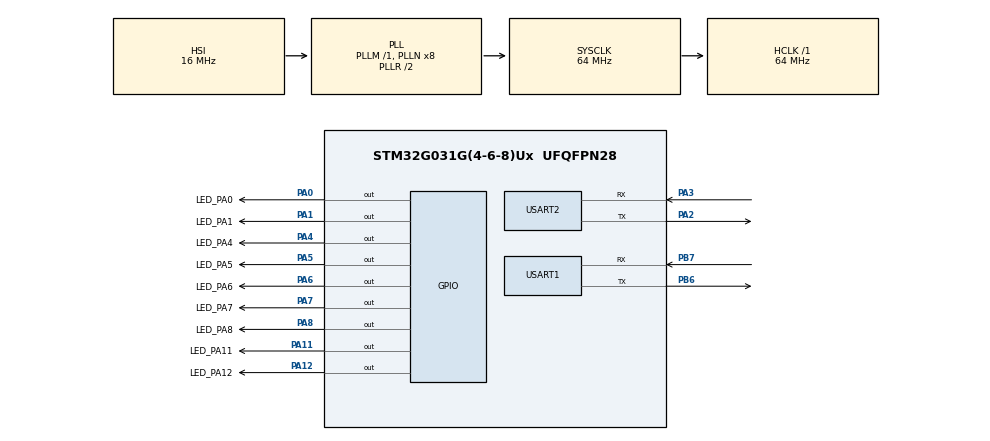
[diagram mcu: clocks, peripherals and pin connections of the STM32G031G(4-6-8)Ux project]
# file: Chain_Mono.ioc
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Dma.Request0=USART1_RX
Dma.Request1=USART1_TX
Dma.Request2=USART2_RX
Dma.Request3=USART2_TX
Dma.USART1_RX.0.Direction=DMA_PERIPH_TO_MEMORY
Dma.USART1_RX.0.EventEnable=DISABLE
Dma.USART1_RX.0.Instance=DMA1_Channel1
Dma.USART1_RX.0.MemDataAlignment=DMA_MDATAALIGN_BYTE
Dma.USART1_RX.0.MemInc=DMA_MINC_ENABLE
Dma.USART1_RX.0.Mode=DMA_NORMAL
Dma.USART1_RX.0.PeriphDataAlignment=DMA_PDATAALIGN_BYTE
Dma.USART1_RX.0.PeriphInc=DMA_PINC_DISABLE
Dma.USART1_RX.0.Polarity=HAL_DMAMUX_REQ_GEN_RISING
Dma.USART1_RX.0.Priority=DMA_PRIORITY_LOW
Dma.USART1_RX.0.RequestNumber=1
Dma.USART1_RX.0.SignalID=NONE
Dma.USART1_RX.0.SyncEnable=DISABLE
Dma.USART1_RX.0.SyncPolarity=HAL_DMAMUX_SYNC_NO_EVENT
Dma.USART1_RX.0.SyncRequestNumber=1
Dma.USART1_RX.0.SyncSignalID=NONE
Dma.USART1_TX.1.Direction=DMA_MEMORY_TO_PERIPH
Dma.USART1_TX.1.EventEnable=DISABLE
Dma.USART1_TX.1.Instance=DMA1_Channel2
Dma.USART1_TX.1.MemDataAlignment=DMA_MDATAALIGN_BYTE
Dma.USART1_TX.1.MemInc=DMA_MINC_ENABLE
Dma.USART1_TX.1.Mode=DMA_NORMAL
Dma.USART1_TX.1.PeriphDataAlignment=DMA_PDATAALIGN_BYTE
Dma.USART1_TX.1.PeriphInc=DMA_PINC_DISABLE
Dma.USART1_TX.1.Polarity=HAL_DMAMUX_REQ_GEN_RISING
Dma.USART1_TX.1.Priority=DMA_PRIORITY_LOW
Dma.USART1_TX.1.RequestNumber=1
Dma.USART1_TX.1.SignalID=NONE
Dma.USART1_TX.1.SyncEnable=DISABLE
Dma.USART1_TX.1.SyncPolarity=HAL_DMAMUX_SYNC_NO_EVENT
Dma.USART1_TX.1.SyncRequestNumber=1
Dma.USART1_TX.1.SyncSignalID=NONE
Dma.USART2_RX.2.Direction=DMA_PERIPH_TO_MEMORY
Dma.USART2_RX.2.EventEnable=DISABLE
Dma.USART2_RX.2.Instance=DMA1_Channel3
Dma.USART2_RX.2.MemDataAlignment=DMA_MDATAALIGN_BYTE
Dma.USART2_RX.2.MemInc=DMA_MINC_ENABLE
Dma.USART2_RX.2.Mode=DMA_NORMAL
Dma.USART2_RX.2.PeriphDataAlignment=DMA_PDATAALIGN_BYTE
Dma.USART2_RX.2.PeriphInc=DMA_PINC_DISABLE
Dma.USART2_RX.2.Polarity=HAL_DMAMUX_REQ_GEN_RISING
Dma.USART2_RX.2.Priority=DMA_PRIORITY_LOW
Dma.USART2_RX.2.RequestNumber=1
Dma.USART2_RX.2.SignalID=NONE
Dma.USART2_RX.2.SyncEnable=DISABLE
Dma.USART2_RX.2.SyncPolarity=HAL_DMAMUX_SYNC_NO_EVENT
Dma.USART2_RX.2.SyncRequestNumber=1
Dma.USART2_RX.2.SyncSignalID=NONE
Dma.USART2_TX.3.Direction=DMA_MEMORY_TO_PERIPH
Dma.USART2_TX.3.EventEnable=DISABLE
Dma.USART2_TX.3.Instance=DMA1_Channel4
Dma.USART2_TX.3.MemDataAlignment=DMA_MDATAALIGN_BYTE
Dma.USART2_TX.3.MemInc=DMA_MINC_ENABLE
Dma.USART2_TX.3.Mode=DMA_NORMAL
Dma.USART2_TX.3.PeriphDataAlignment=DMA_PDATAALIGN_BYTE
Dma.USART2_TX.3.PeriphInc=DMA_PINC_DISABLE
Dma.USART2_TX.3.Polarity=HAL_DMAMUX_REQ_GEN_RISING
Dma.USART2_TX.3.Priority=DMA_PRIORITY_LOW
Dma.USART2_TX.3.RequestNumber=1
Dma.USART2_TX.3.SignalID=NONE
Dma.USART2_TX.3.SyncEnable=DISABLE
Dma.USART2_TX.3.SyncPolarity=HAL_DMAMUX_SYNC_NO_EVENT
Dma.USART2_TX.3.SyncRequestNumber=1
Dma.USART2_TX.3.SyncSignalID=NONE
IWDG.Prescaler=IWDG_PRESCALER_16
Mcu.Family=STM32G0
Mcu.Name=STM32G031G(4-6-8)Ux
Mcu.Package=UFQFPN28
NVIC.DMA1_Ch4_5_DMAMUX1_OVR_IRQn=true\:1\:0\:true\:false\:true\:false\:true\:true
NVIC.DMA1_Channel1_IRQn=true\:1\:0\:true\:false\:true\:false\:true\:true
NVIC.DMA1_Channel2_3_IRQn=true\:1\:0\:true\:false\:true\:false\:true\:true
NVIC.FLASH_IRQn=true\:1\:0\:true\:false\:true\:true\:true\:true
NVIC.TIM14_IRQn=true\:1\:0\:true\:false\:true\:true\:true\:true
NVIC.TIM16_IRQn=true\:1\:0\:true\:false\:true\:true\:true\:true
NVIC.TIM17_IRQn=true\:1\:0\:true\:false\:true\:true\:true\:true
NVIC.TIM3_IRQn=true\:0\:0\:false\:false\:true\:true\:true\:true
NVIC.USART1_IRQn=true\:0\:0\:false\:false\:true\:false\:true\:true
NVIC.USART2_IRQn=true\:0\:0\:false\:false\:true\:false\:true\:true
PA0.GPIO_Label=LED_PA0
PA0.Signal=GPIO_Output
PA1.GPIO_Label=LED_PA1
PA1.Signal=GPIO_Output
PA11\ [PA9].GPIO_Label=LED_PA11
PA11\ [PA9].Signal=GPIO_Output
PA12\ [PA10].GPIO_Label=LED_PA12
PA12\ [PA10].Signal=GPIO_Output
PA13.Mode=Serial_Wire
PA13.Signal=SYS_SWDIO
PA14-BOOT0.Mode=Serial_Wire
PA14-BOOT0.Signal=SYS_SWCLK
PA2.GPIO_PuPd=GPIO_PULLUP
PA2.GPIO_Speed=GPIO_SPEED_FREQ_HIGH
PA2.Mode=Asynchronous
PA2.PinState=GPIO_PIN_RESET
PA2.Signal=USART2_TX
PA3.GPIO_PuPd=GPIO_PULLUP
PA3.GPIO_Speed=GPIO_SPEED_FREQ_HIGH
PA3.Mode=Asynchronous
PA3.PinState=GPIO_PIN_RESET
PA3.Signal=USART2_RX
PA4.GPIO_Label=LED_PA4
PA4.Signal=GPIO_Output
PA5.GPIO_Label=LED_PA5
PA5.Signal=GPIO_Output
PA6.GPIO_Label=LED_PA6
PA6.Signal=GPIO_Output
PA7.GPIO_Label=LED_PA7
PA7.Signal=GPIO_Output
PA8.GPIO_Label=LED_PA8
PA8.Signal=GPIO_Output
PB6.GPIO_PuPd=GPIO_PULLUP
PB6.GPIO_Speed=GPIO_SPEED_FREQ_HIGH
PB6.Mode=Asynchronous
PB6.Signal=USART1_TX
PB7.GPIO_PuPd=GPIO_PULLUP
PB7.GPIO_Speed=GPIO_SPEED_FREQ_HIGH
PB7.Mode=Asynchronous
PB7.Signal=USART1_RX
ProjectManager.HeapSize=0x200
ProjectManager.StackSize=0x400
ProjectManager.TargetToolchain=STM32CubeIDE
RCC.ADCFreq_Value=64000000
RCC.AHBFreq_Value=64000000
RCC.CortexFreq_Value=64000000
RCC.EXTERNAL_CLOCK_VALUE=12288000
RCC.HCLKFreq_Value=64000000
RCC.HSE_VALUE=8000000
RCC.HSI_VALUE=16000000
RCC.LSE_VALUE=32768
RCC.PLLQ=RCC_PLLQ_DIV4
RCC.SYSCLKFreq_VALUE=64000000
RCC.SYSCLKSource=RCC_SYSCLKSOURCE_PLLCLK
RCC.VCOOutputFreq_Value=128000000
TIM14.AutoReloadPreload=TIM_AUTORELOAD_PRELOAD_ENABLE
TIM14.Period=1699
TIM14.Prescaler=6399
TIM16.Period=29999
TIM16.Prescaler=6399
TIM17.Period=9999
TIM17.Prescaler=6399
TIM3.AutoReloadPreload=TIM_AUTORELOAD_PRELOAD_ENABLE
TIM3.Period=399
TIM3.Prescaler=63
USART1.VirtualMode-Asynchronous=VM_ASYNC
USART2.VirtualMode-Asynchronous=VM_ASYNC
VP_IWDG_VS_IWDG.Mode=IWDG_Activate
VP_TIM14_VS_ClockSourceINT.Mode=Enable_Timer
VP_TIM16_VS_ClockSourceINT.Mode=Enable_Timer
VP_TIM17_VS_ClockSourceINT.Mode=Enable_Timer
VP_TIM3_VS_ClockSourceINT.Mode=Internal
board=custom

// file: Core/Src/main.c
/* USER CODE BEGIN Header */
/**
 ******************************************************************************
 * @file           : main.c
 * @brief          : Main program body
 ******************************************************************************
 * @attention
 *
 * Copyright (c) 2024 STMicroelectronics.
 * All rights reserved.
 *
 * This software is licensed under terms that can be found in the LICENSE file
 * in the root directory of this software component.
 * If no LICENSE file comes with this software, it is provided AS-IS.
 *
 ******************************************************************************
 */
/* USER CODE END Header */
#include "main.h"
#include "dma.h"
#include "iwdg.h"
#include "tim.h"
#include "usart.h"
#include "gpio.h"

/* USER CODE BEGIN Includes */
#include "base_function.h"
#include "mono_function.h"
#include "myflash.h"
/* USER CODE END Includes */

/* USER CODE BEGIN PV */
// DMA receive buffers
__IO uint8_t g_uart_in_rx_buf[UART_BUFFER_SIZE][BUFFER_SIZE];   // uart_in receive buffer for DMA
__IO uint8_t g_uart_out_rx_buf[UART_BUFFER_SIZE][BUFFER_SIZE];  // uart_out receive buffer for DMA

// Transmission status for UART
__IO uint8_t g_uart_in_rx_index  = 0;  // Index for UART input (receiving) buffer position
__IO uint8_t g_uart_out_rx_index = 0;  // Index for UART output (receiving) buffer position

// Transmission complete flags for UART
__IO uint8_t g_uart_in_transmit_complete  = 1;  // Flag indicating if uart_in transmission is complete (1: complete)
__IO uint8_t g_uart_out_transmit_complete = 1;  // Flag indicating if uart_out transmission is complete (1: complete)

// Command buffer and related variables
__IO uint8_t g_cmd_buf[BUFFER_SIZE] = {0};                    // Command buffer initialized to zero
__IO uint8_t g_cmd_size             = 0;                      // Size of the command currently in the buffer
__IO uint8_t g_cmd_status           = CMD_SPACE_IDLE_STATUS;  // Status of the command processing

// Device status variables
__IO uint8_t g_tail_status        = CHAIN_TAIL_DEVICE;  // Status of the tail device in the chain
__IO uint8_t g_heart_beat_record  = 0;                  // Heartbeat record for monitoring device status
__IO uint8_t g_bootloader_version = 0;                  // Version of the bootloader
__IO uint8_t g_firmware_version   = SOFTWARE_VERSION;   // Version of the firmware

// Device type information
__IO uint16_t g_device_type =
    (uint8_t)((PRODUCT_TYPE_HIGH << 8) | PRODUCT_TYPE_LOW);  // Combined product type from high and low bytes

__IO static uint32_t s_last_press_time = 0;  // Store the last press time in milliseconds

__IO static uint8_t s_key_flag = 0;

__IO uint8_t g_uid[12] = {0};  // Unique identifier

/* USER CODE END PV */

void SystemClock_Config(void);

/* USER CODE BEGIN 0 */
/**
 * @brief Set the Interrupt Vector Table for the application in SRAM.
 * @param None
 * @retval None
 */
void iap_set(void)
{
    uint8_t i;                                     // Loop index
    uint32_t *pVecTab = (uint32_t *)(0x20000000);  // Pointer to the vector table in SRAM

    // Copy the interrupt vector table from the application address to SRAM
    for (i = 0; i < 48; i++) {
        // Copy each vector entry to the SRAM vector table
        *(pVecTab++) = *(__IO uint32_t *)(APPLICATION_ADDRESS + (i << 2));
    }

    // Enable the SYSCFG peripheral clock
    __HAL_RCC_SYSCFG_CLK_ENABLE();

    // Remap the memory to use SRAM for the vector table
    __HAL_SYSCFG_REMAPMEMORY_SRAM();
}

/**
 * @brief Initialize the chain device settings.
 * @param None
 * @retval None
 */
void chain_init(void)
{
    // Get the version of the bootloader
    g_bootloader_version = get_bootloader_version();

    // Check if the screen rotation setting is set to maximum (0xFF)
    if (get_screen_rotation() == 0xFF) {
        // Set the rotation to a base value if it is maximum
        g_current_rotation = SCREEN_ROTATION_BASE;
        set_screen_rotation((uint8_t)g_current_rotation);
    } else {
        // Otherwise, get the current screen rotation setting
        g_current_rotation = get_screen_rotation();
    }

    // Check if the brightness level setting is set to maximum (0xFF)
    if (get_brightness_level() == 0xFF) {
        // Set the brightness to a base level if it is maximum
        g_brightness_level = RRIGTNESS_LEVEL_BASE;
        set_brightness_level((uint8_t)g_brightness_level);
    } else {
        // Otherwise, get the current brightness level setting
        chain_mono_set_brightness(get_brightness_level());
    }
}

void read_uid(void)
{
    uint32_t uid0 = HAL_GetUIDw0();
    uint32_t uid1 = HAL_GetUIDw1();
    uint32_t uid2 = HAL_GetUIDw2();

    memcpy(&g_uid[0], &uid0, 4);
    memcpy(&g_uid[4], &uid1, 4);
    memcpy(&g_uid[8], &uid2, 4);
}

/* ===== 全局变量 ===== */
/* USER CODE END 0 */

int main(void)
{
    /* USER CODE BEGIN 1 */
    iap_set();
    chain_init();
    read_uid();
    /* USER CODE END 1 */

    /* MCU Configuration--------------------------------------------------------*/

    /* Reset of all peripherals, Initializes the Flash interface and the Systick. */
    HAL_Init();

    /* Configure the system clock */
    SystemClock_Config();

    /* Initialize all configured peripherals */
    MX_GPIO_Init();
    MX_DMA_Init();
    MX_USART1_UART_Init();
    MX_USART2_UART_Init();
    MX_IWDG_Init();
    MX_TIM14_Init();
    MX_TIM16_Init();
    MX_TIM17_Init();
    MX_TIM3_Init();
    /* USER CODE BEGIN 2 */
    HAL_Delay(1);
    HAL_TIM_Base_Start_IT(&htim3);               // Update 中断
    HAL_TIM_OC_Start_IT(&htim3, TIM_CHANNEL_1);  // CC1 中断
    HAL_Delay(1);
    LL_TIM_ClearFlag_UPDATE(TIM14);  // Clear update TIM14
    LL_TIM_EnableIT_UPDATE(TIM14);   // ENABLE TIM14
    LL_TIM_EnableCounter(TIM14);     // ENABLE TIM14
    HAL_Delay(1);
    LL_TIM_ClearFlag_UPDATE(TIM17);  // Clear update TIM17
    LL_TIM_EnableIT_UPDATE(TIM17);   // ENABLE TIM17
    LL_TIM_EnableCounter(TIM17);     // ENABLE TIM17
    HAL_Delay(1);
    LL_TIM_ClearFlag_UPDATE(TIM16);  // Clear update TIM16
    LL_TIM_EnableIT_UPDATE(TIM16);   // ENABLE TIM16
    LL_TIM_EnableCounter(TIM16);     // ENABLE TIM16
    HAL_Delay(1);
    /* USER CODE END 2 */

    /* Infinite loop */
    /* USER CODE BEGIN WHILE */
    while (1) {
        uint32_t tick_ms = HAL_GetTick();
        chain_mono_scroll_text_update(tick_ms);
        if (g_cmd_status == CMD_SPACE_BUSY_STATUS) {
            switch (g_cmd_buf[0]) {
                case CHAIN_MONO_SET_MODE:
                    chain_mono_set_mode_handle((uint8_t *)(g_cmd_buf + 1), (g_cmd_size - 1));
                    break;
                case CHAIN_MONO_GET_MODE:
                    chain_mono_get_mode_handle();
                    break;
                case CHAIN_MONO_SET_PIXEL:
                    chain_mono_set_pixel_handle((uint8_t *)(g_cmd_buf + 1), (g_cmd_size - 1));
                    break;
                case CHAIN_MONO_GET_PIXEL:
                    chain_mono_get_pixel_handle((uint8_t *)(g_cmd_buf + 1), (g_cmd_size - 1));
                    break;
                case CHAIN_MONO_SET_DISPLAY_BUFFER:
                    chain_mono_set_display_buffer_handle((uint8_t *)(g_cmd_buf + 1), (g_cmd_size - 1));
                    break;
                case CHAIN_MONO_GET_DISPLAY_BUFFER:
                    chain_mono_get_display_buffer_handle();
                    break;
                case CHAIN_MONO_SET_ROTATION:
                    chain_mono_set_rotation_handle((uint8_t *)(g_cmd_buf + 1), (g_cmd_size - 1));
                    break;
                case CHAIN_MONO_GET_ROTATION:
                    chain_mono_get_rotation_handle();
                    break;
                case CHAIN_MONO_SET_BRIGHTNESS:
                    chain_mono_set_brightness_handle((uint8_t *)(g_cmd_buf + 1), (g_cmd_size - 1));
                    break;
                case CHAIN_MONO_GET_BRIGHTNESS:
                    chain_mono_get_brightness_handle();
                    break;
                case CHAIN_MONO_SET_SCROLL_TEXT:
                    chain_mono_set_scroll_text_handle((uint8_t *)(g_cmd_buf + 1), (g_cmd_size - 1));
                    break;
                case CHAIN_MONO_GET_SCROLL_TEXT:
                    chain_mono_get_scroll_text_handle();
                    break;
                case CHAIN_MONO_SET_SCROLL_TEXT_STATE:
                    chain_mono_set_scroll_text_state_handle(g_cmd_buf[1]);
                    break;
                case CHAIN_MONO_GET_SCROLL_TEXT_STATE:
                    chain_mono_get_scroll_text_state_handle();
                    break;
                case CHAIN_MONO_SET_CHAR:
                    chain_mono_set_char_handle((uint8_t *)(g_cmd_buf + 1), (g_cmd_size - 1));
                    break;
                case CHAIN_MONO_CLEAR:
                    chain_mono_clear_handle();
                    break;
                case CHAIN_GET_UID:
                    chain_get_uid_handle(g_cmd_buf[1]);
                    break;
                case CHAIN_GET_BOOTLOADER_VERSION:
                    chain_get_bootloader_version_handle();
                    break;
                case CHAIN_GET_VERSION_DEVICE:
                    chain_get_firmware_version_handle();
                    break;
                case CHAIN_GET_DEVICE_TYPE:
                    chain_get_device_type_handle();
                    break;
                case CHAIN_IAP_UPDATE:
                    chain_iap_update_handle(g_cmd_buf[1]);
                    break;
                default:
                    break;
            }
            g_cmd_status = CMD_SPACE_IDLE_STATUS;
        }
        /* USER CODE END WHILE */

        /* USER CODE BEGIN 3 */
        LL_IWDG_ReloadCounter(IWDG);
    }
    /* USER CODE END 3 */
}

void SystemClock_Config(void)
{
    RCC_OscInitTypeDef RCC_OscInitStruct = {0};
    RCC_ClkInitTypeDef RCC_ClkInitStruct = {0};

    /** Configure the main internal regulator output voltage
     */
    HAL_PWREx_ControlVoltageScaling(PWR_REGULATOR_VOLTAGE_SCALE1);

    /** Initializes the RCC Oscillators according to the specified parameters
     * in the RCC_OscInitTypeDef structure.
     */
    RCC_OscInitStruct.OscillatorType      = RCC_OSCILLATORTYPE_HSI | RCC_OSCILLATORTYPE_LSI;
    RCC_OscInitStruct.HSIState            = RCC_HSI_ON;
    RCC_OscInitStruct.HSIDiv              = RCC_HSI_DIV1;
    RCC_OscInitStruct.HSICalibrationValue = RCC_HSICALIBRATION_DEFAULT;
    RCC_OscInitStruct.LSIState            = RCC_LSI_ON;
    RCC_OscInitStruct.PLL.PLLState        = RCC_PLL_ON;
    RCC_OscInitStruct.PLL.PLLSource       = RCC_PLLSOURCE_HSI;
    RCC_OscInitStruct.PLL.PLLM            = RCC_PLLM_DIV1;
    RCC_OscInitStruct.PLL.PLLN            = 8;
    RCC_OscInitStruct.PLL.PLLP            = RCC_PLLP_DIV2;
    RCC_OscInitStruct.PLL.PLLQ            = RCC_PLLQ_DIV4;
    RCC_OscInitStruct.PLL.PLLR            = RCC_PLLR_DIV2;
    if (HAL_RCC_OscConfig(&RCC_OscInitStruct) != HAL_OK) {
        Error_Handler();
    }

    /** Initializes the CPU, AHB and APB buses clocks
     */
    RCC_ClkInitStruct.ClockType      = RCC_CLOCKTYPE_HCLK | RCC_CLOCKTYPE_SYSCLK | RCC_CLOCKTYPE_PCLK1;
    RCC_ClkInitStruct.SYSCLKSource   = RCC_SYSCLKSOURCE_PLLCLK;
    RCC_ClkInitStruct.AHBCLKDivider  = RCC_SYSCLK_DIV1;
    RCC_ClkInitStruct.APB1CLKDivider = RCC_HCLK_DIV1;

    if (HAL_RCC_ClockConfig(&RCC_ClkInitStruct, FLASH_LATENCY_2) != HAL_OK) {
        Error_Handler();
    }
}

void Error_Handler(void)
{
    __disable_irq();
    while (1) {
    }
}

#ifdef USE_FULL_ASSERT
/**
 * @brief  Reports the name of the source file and the source line number
 *         where the assert_param error has occurred.
 * @param  file: pointer to the source file name
 * @param  line: assert_param error line source number
 * @retval None
 */
void assert_failed(uint8_t *file, uint32_t line)
{
    /* USER CODE BEGIN 6 */
    /* User can add his own implementation to report the file name and line
       number,
       ex: printf("Wrong parameters value: file %s on line %d\r\n", file, line) */
    /* USER CODE END 6 */
}
#endif /* USE_FULL_ASSERT */
